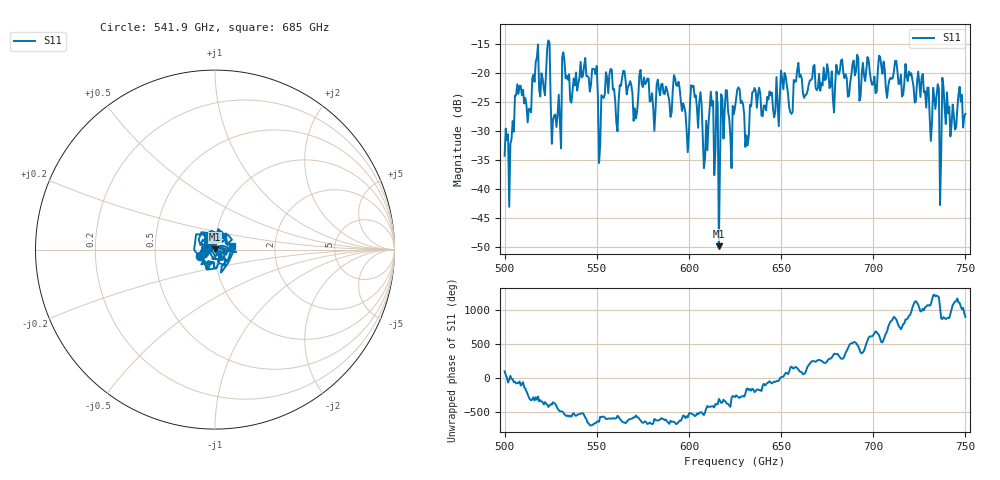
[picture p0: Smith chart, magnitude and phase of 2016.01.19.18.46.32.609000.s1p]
!Created with skrf (http://scikit-rf.org).
# GHz S RI R 50.0
!freq ReS11 ImS11
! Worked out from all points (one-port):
!   401 points, 500 GHz to 750 GHz, reference 50 ohm
!   lowest |S11| = -49.9 dB at 616.2 GHz (marker M1), VSWR 1.01, Z = 50.2 + j0.263 ohm
!   |S11| at or under -10 dB: start of sweep to end of sweep
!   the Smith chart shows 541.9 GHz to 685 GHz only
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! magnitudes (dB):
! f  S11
! 500 GHz  -34.3
! 503.8 GHz  -31.4
! 507.5 GHz  -23.6
! 513.1 GHz  -26.2
! 516.9 GHz  -18.0
! 523.8 GHz  -14.3
! 526.9 GHz  -27.3
! 531.2 GHz  -17.2
! 548.8 GHz  -19.3
! 551.9 GHz  -32.3
! 556.2 GHz  -23.5
! 562.5 GHz  -22.0
! 593.8 GHz  -22.2
! 598.8 GHz  -29.9
! 602.5 GHz  -22.2
! 608.8 GHz  -34.7
! 611.9 GHz  -23.2
! 616.2 GHz  -49.9
! 625 GHz  -25.9
! 631.2 GHz  -30.7
! 635 GHz  -23.2
! 656.2 GHz  -26.7
! 687.5 GHz  -21.6
! 718.8 GHz  -21.4
! 734.4 GHz  -23.9
! 735.6 GHz  -22.7
! 738.8 GHz  -26.0
! 750 GHz  -27.0
